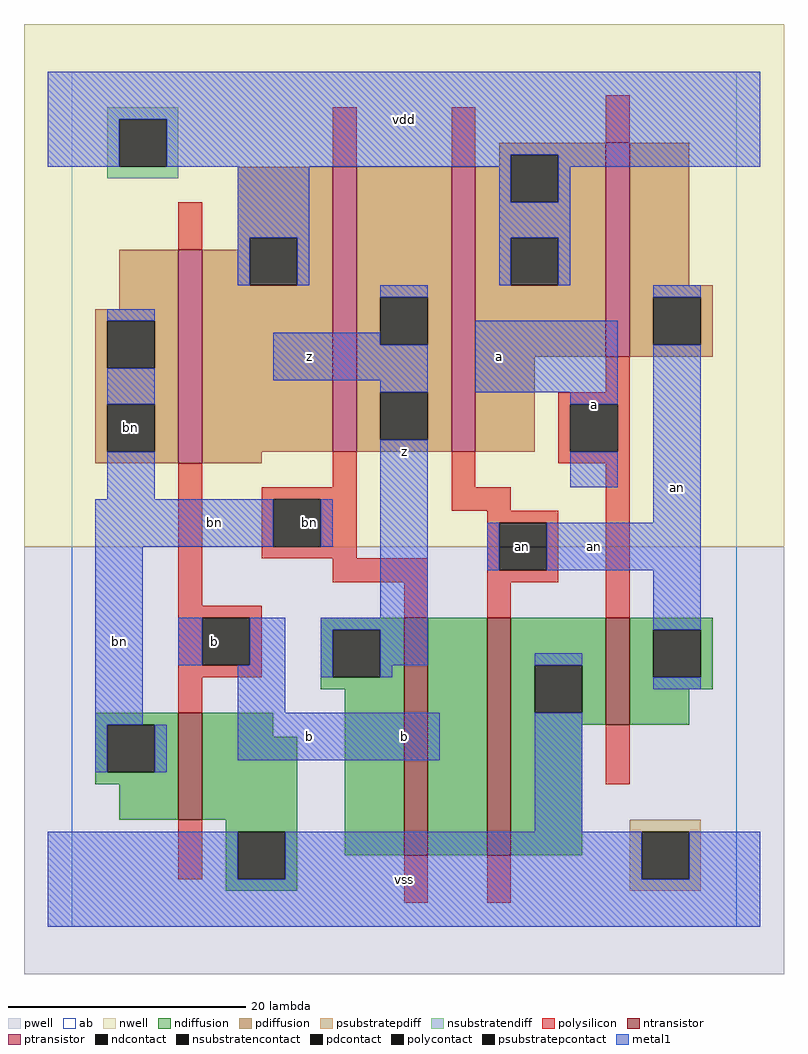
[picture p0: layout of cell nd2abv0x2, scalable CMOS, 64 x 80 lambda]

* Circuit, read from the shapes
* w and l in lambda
.subckt nd2abv0x2 a an b bn vdd vss z
M1 vss b bn vss nfet w=9 l=2
M2 n1 bn z vss nfet w=20 l=2
M3 vss an n1 vss nfet w=20 l=2
M4 an a vss vss nfet w=9 l=2
M5 vdd b bn vdd pfet w=18 l=2
M6 z bn vdd vdd pfet w=24 l=2
M7 vdd an z vdd pfet w=24 l=2
M8 an a vdd vdd pfet w=18 l=2
.ends

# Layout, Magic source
magic
tech scmos
<< ab >>
rect 0 0 56 72
<< pwell >>
rect -4 -4 60 32
<< nwell >>
rect -4 32 60 76
<< polysilicon >>
rect 22 64 24 69
rect 32 64 34 69
rect 45 66 47 70
rect 9 57 11 61
rect 45 45 47 48
rect 41 44 47 45
rect 41 40 42 44
rect 46 40 47 44
rect 9 27 11 39
rect 22 37 24 40
rect 16 36 24 37
rect 16 32 17 36
rect 21 32 24 36
rect 32 37 34 40
rect 41 39 47 40
rect 32 35 37 37
rect 16 31 24 32
rect 35 34 41 35
rect 22 29 30 31
rect 9 26 16 27
rect 28 26 30 29
rect 35 30 36 34
rect 40 30 41 34
rect 35 29 41 30
rect 35 26 37 29
rect 45 26 47 39
rect 9 22 11 26
rect 15 22 16 26
rect 9 21 16 22
rect 9 18 11 21
rect 9 4 11 9
rect 45 12 47 17
rect 28 2 30 6
rect 35 2 37 6
<< ndiffusion >>
rect 21 25 28 26
rect 21 21 22 25
rect 26 21 28 25
rect 21 20 28 21
rect 2 17 9 18
rect 2 13 3 17
rect 7 13 9 17
rect 2 12 9 13
rect 4 9 9 12
rect 11 16 17 18
rect 11 9 19 16
rect 13 8 19 9
rect 13 4 14 8
rect 18 4 19 8
rect 23 6 28 20
rect 30 6 35 26
rect 37 22 45 26
rect 37 18 39 22
rect 43 18 45 22
rect 37 17 45 18
rect 47 25 54 26
rect 47 21 49 25
rect 53 21 54 25
rect 47 20 54 21
rect 47 17 52 20
rect 37 6 43 17
rect 13 3 19 4
<< pdiffusion >>
rect 36 65 45 66
rect 36 64 37 65
rect 14 58 22 64
rect 14 57 15 58
rect 4 52 9 57
rect 2 51 9 52
rect 2 47 3 51
rect 7 47 9 51
rect 2 44 9 47
rect 2 40 3 44
rect 7 40 9 44
rect 2 39 9 40
rect 11 54 15 57
rect 19 54 22 58
rect 11 40 22 54
rect 24 53 32 64
rect 24 49 26 53
rect 30 49 32 53
rect 24 45 32 49
rect 24 41 26 45
rect 30 41 32 45
rect 24 40 32 41
rect 34 61 37 64
rect 41 61 45 65
rect 34 58 45 61
rect 34 54 37 58
rect 41 54 45 58
rect 34 48 45 54
rect 47 54 52 66
rect 47 53 54 54
rect 47 49 49 53
rect 53 49 54 53
rect 47 48 54 49
rect 34 40 39 48
rect 11 39 16 40
<< metal1 >>
rect -2 68 58 72
rect -2 64 4 68
rect 8 65 58 68
rect 8 64 37 65
rect 14 58 20 64
rect 14 54 15 58
rect 19 54 20 58
rect 36 61 37 64
rect 41 64 58 65
rect 41 61 42 64
rect 36 58 42 61
rect 36 54 37 58
rect 41 54 42 58
rect 26 53 30 54
rect 3 51 7 52
rect 3 44 7 47
rect 17 49 26 50
rect 49 53 53 54
rect 17 46 30 49
rect 3 36 7 40
rect 26 45 30 46
rect 34 45 46 51
rect 2 32 17 36
rect 21 32 22 36
rect 2 17 6 32
rect 26 26 30 41
rect 42 44 46 45
rect 42 37 46 40
rect 49 34 53 49
rect 35 30 36 34
rect 40 30 53 34
rect 9 22 11 26
rect 15 22 18 26
rect 14 18 18 22
rect 21 25 30 26
rect 21 21 22 25
rect 26 22 30 25
rect 49 25 53 30
rect 39 22 43 23
rect 26 21 27 22
rect 49 20 53 21
rect 2 13 3 17
rect 7 13 8 17
rect 14 14 31 18
rect 39 8 43 18
rect -2 4 14 8
rect 18 4 48 8
rect 52 4 58 8
rect -2 0 58 4
<< ntransistor >>
rect 9 9 11 18
rect 28 6 30 26
rect 35 6 37 26
rect 45 17 47 26
<< ptransistor >>
rect 9 39 11 57
rect 22 40 24 64
rect 32 40 34 64
rect 45 48 47 66
<< polycontact >>
rect 42 40 46 44
rect 17 32 21 36
rect 36 30 40 34
rect 11 22 15 26
<< ndcontact >>
rect 22 21 26 25
rect 3 13 7 17
rect 14 4 18 8
rect 39 18 43 22
rect 49 21 53 25
<< pdcontact >>
rect 3 47 7 51
rect 3 40 7 44
rect 15 54 19 58
rect 26 49 30 53
rect 26 41 30 45
rect 37 61 41 65
rect 37 54 41 58
rect 49 49 53 53
<< psubstratepcontact >>
rect 48 4 52 8
<< nsubstratencontact >>
rect 4 64 8 68
<< psubstratepdiff >>
rect 47 8 53 9
rect 47 4 48 8
rect 52 4 53 8
rect 47 3 53 4
<< nsubstratendiff >>
rect 3 68 9 69
rect 3 64 4 68
rect 8 64 9 68
rect 3 63 9 64
<< labels >>
rlabel polycontact 20 34 20 34 6 bn
rlabel polycontact 38 32 38 32 6 an
rlabel pdcontact 5 42 5 42 6 bn
rlabel metal1 4 24 4 24 6 bn
rlabel metal1 20 16 20 16 6 b
rlabel polycontact 12 24 12 24 6 b
rlabel metal1 12 34 12 34 6 bn
rlabel metal1 20 48 20 48 6 z
rlabel metal1 28 4 28 4 6 vss
rlabel metal1 28 16 28 16 6 b
rlabel metal1 28 40 28 40 6 z
rlabel metal1 36 48 36 48 6 a
rlabel metal1 28 68 28 68 6 vdd
rlabel metal1 44 32 44 32 6 an
rlabel metal1 51 37 51 37 6 an
rlabel metal1 44 44 44 44 6 a
<< end >>
